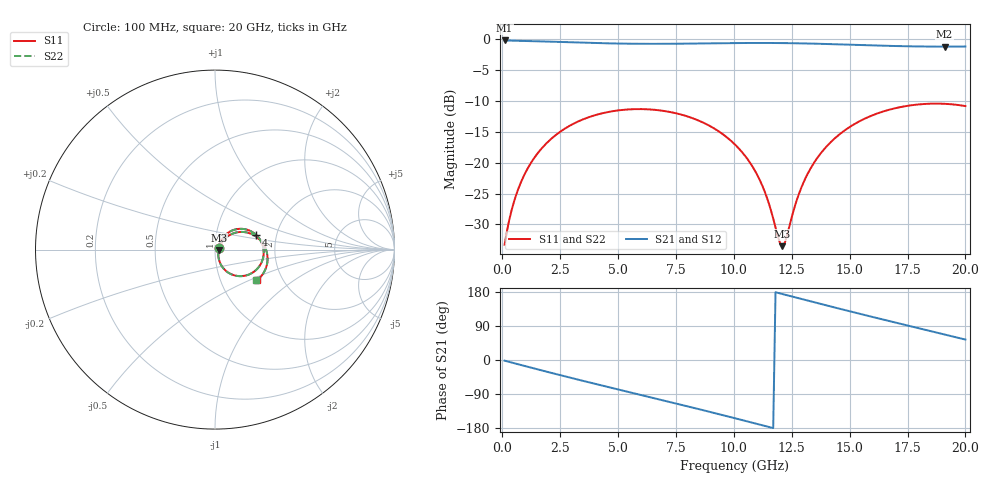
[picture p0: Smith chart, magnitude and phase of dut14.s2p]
! Touchstone file exported from HFSS 2026.1.0
!  File:  C:/ffzhzh/LocalFiles/Ansys_Project_Files/temp_val_TSV_RDL_14_1782976840_45308.aedt
!  Generated:  03:31:19 PM Jul  2, 2026
!  Design:  TSV_RDL
!  Project:  temp_val_TSV_RDL_14_1782976840_45308
! Variables:
!  h_bsmrdl = 4.06um
!  h_ox = 20um
!  h_rdl = 5um
!  h_sub = 89.7um
!  h_tmrdl = 5.84um
!  h_tsv = 89.7um
!  h_via = 3um
!  l_bsmrdl = 844.91um
!  l_sub = 4960.13um
!  l_tmrdl = 475.6um
!  m_sub = 200um
!  pitch = 33.06um
!  r_tsv = 10.98um
!  s_tmrdl = 10um
!  w_bsmrdl = 16.9um
!  w_sub = 500um
!  w_tmrdl = 24.1um
!  x_tsv_center1 = 487.65um
!  x_tsv_center2 = 1349.46um
!  x_tsv_center3 = 1849.16um
!  x_tsv_center4 = 2710.97um
!  x_tsv_center5 = 3210.67um
!  x_tsv_center6 = 4072.48um
# GHz S MA R 50.000000
! Terminal data exported
! Port[1] = TM_RDL1_1_T1
! Port[2] = TM_RDL5_1_T1
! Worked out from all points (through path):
!   200 points, 100 MHz to 20 GHz, reference 50 ohm
!   highest |S21| = -0.17 dB at 100 MHz (marker M1); lowest = -1.2 dB at 19.1 GHz (marker M2)
!   group delay of S21, straight-line fit = 42.5 ps
!   lowest |S11| = -33.5 dB at 12.1 GHz (marker M3), VSWR 1.04, Z = 52.1 - j0.366 ohm
!   |S11| at or under -10 dB: start of sweep to end of sweep
!   |S22| runs from -33.7 to -10.4 dB; largest |S21 - S12| = 1.6e-14
!   S11 on the Smith chart (normalised r, x): 100 MHz: 1.04, +0.02; 4 GHz: 1.56, +0.27; 20 GHz: 1.48, -0.55
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0.1  0.02169 25.4  0.9807 -1.7  0.9807 -1.7  0.02169 25.4
! Gamma 0 0 0 0
! Port Impedance 50 0 50 0
0.5  0.04798 52.8  0.9759 -8.3  0.9759 -8.3  0.04799 52.8
1.2  0.09718 54.9  0.9692 -19.5  0.9692 -19.5  0.09718 54.9
2.2  0.1616 44.3  0.9571 -35.3  0.9571 -35.3  0.1616 44.3
3.5  0.2253 26.9  0.9401 -55.3  0.9401 -55.3  0.2254 26.8
4  0.2429 19.9  0.9344 -62.8  0.9344 -62.8  0.2429 19.9
5.4  0.2704 0.6  0.9234 -83.6  0.9234 -83.6  0.2704 0.5
6.8  0.266 -18.7  0.9208 -104.3  0.9208 -104.3  0.266 -18.7
8.4  0.223 -40.5  0.9261 -128.3  0.9261 -128.3  0.223 -40.6
10.1  0.1376 -62.0  0.9341 -154.5  0.9341 -154.5  0.1376 -62.2
11.2  0.06715 -69.0  0.936 -171.8  0.936 -171.8  0.06706 -69.4
11.5  0.04758 -65.5  0.9357 -176.5  0.9357 -176.5  0.04743 -66.0
12  0.02214 -27.1  0.9343 175.6  0.9343 175.6  0.02173 -27.7
12.1  0.02109 -9.6  0.9339 174.0  0.9339 174.0  0.02064 -9.7
12.2  0.02245 7.7  0.9335 172.4  0.9335 172.4  0.02201 8.0
12.8  0.05525 46.2  0.9298 162.9  0.9298 162.9  0.05504 46.5
13.4  0.09576 46.9  0.9246 153.5  0.9246 153.5  0.09562 47.1
14.8  0.1838 32.4  0.9086 131.7  0.9086 131.7  0.1837 32.4
16.7  0.2689 7.4  0.8863 102.9  0.8863 102.9  0.2688 7.4
17.9  0.2962 -8.7  0.8771 85.1  0.8771 85.1  0.2961 -8.7
19.1  0.3007 -24.7  0.8741 67.4  0.8741 67.4  0.3006 -24.7
20  0.2881 -36.6  0.8761 53.9  0.8761 53.9  0.2881 -36.7
